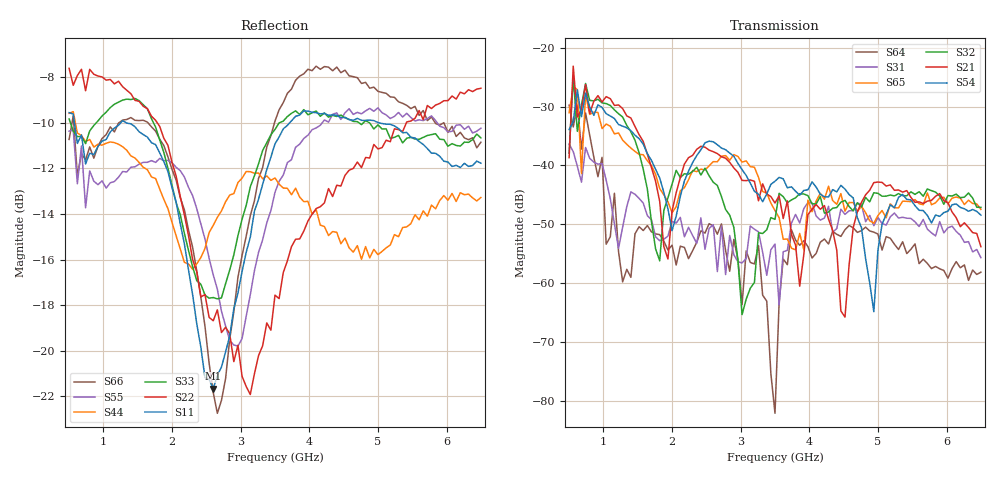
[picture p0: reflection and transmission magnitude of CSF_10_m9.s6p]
!Keysight Technologies,M9804A,MY58100912,A.14.10.03
!Date: Thursday, April 27, 2023 10:28:33
!Correction: S11(C  6-Port  )
!S12(C  6-Port  )
!S13(C  6-Port  )
!S14(C  6-Port  )
!S15(C  6-Port  )
!S16(C  6-Port  )
!S21(C  6-Port  )
!S22(C  6-Port  )
!S23(C  6-Port  )
!S24(C  6-Port  )
!S25(C  6-Port  )
!S26(C  6-Port  )
!S31(C  6-Port  )
!S32(C  6-Port  )
!S33(C  6-Port  )
!S34(C  6-Port  )
!S35(C  6-Port  )
!S36(C  6-Port  )
!S41(C  6-Port  )
!S42(C  6-Port  )
!S43(C  6-Port  )
!S44(C  6-Port  )
!S45(C  6-Port  )
!S46(C  6-Port  )
!S51(C  6-Port  )
!S52(C  6-Port  )
!S53(C  6-Port  )
!S54(C  6-Port  )
!S55(C  6-Port  )
!S56(C  6-Port  )
!S61(C  6-Port  )
!S62(C  6-Port  )
!S63(C  6-Port  )
!S64(C  6-Port  )
!S65(C  6-Port  )
!S66(C  6-Port  )
!S6P File: Measurement: :
# Hz S  RI  R 50
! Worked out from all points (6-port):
!   101 points, 500 MHz to 6.5 GHz, reference 50 ohm
!   strongest paths, dB at 500 MHz, 2 GHz, 3.5 GHz, 5 GHz, 6.5 GHz:
!     S54: -33.9, -51.1, -42.7, -54.4, -48.4
!     S21: -38.7, -47.8, -46.4, -42.8, -53.8
!     S32: -37.9, -43.2, -49.2, -44.7, -47.1
!     S65: -31.0, -48.0, -47.7, -48.5, -47.5
!     S31: -36.4, -49.5, -53.4, -48.9, -55.7
!     S64: -29.8, -53.6, -82.1, -51.7, -58.1
!   lowest |S11| = -21.7 dB at 2.6 GHz (marker M1), VSWR 1.18, Z = 42.6 + j2.04 ohm
!   |S11| at or under -10 dB: 577.8 MHz to 1.253 GHz (674.9 MHz wide, 73.7 % of centre); 1.331 GHz to 3.715 GHz (2.384 GHz wide, 94.5 % of centre); 5.011 GHz to end of sweep
